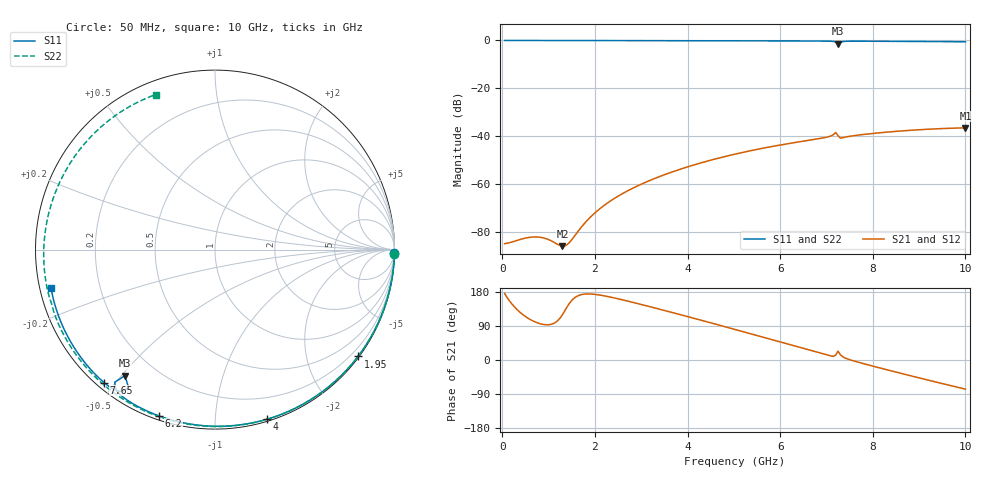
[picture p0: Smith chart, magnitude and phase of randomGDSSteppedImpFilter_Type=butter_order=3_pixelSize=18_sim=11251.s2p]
! freq	dB(S11)	phase(S11)	dB(S12)	phase(S12)
!  dB(S21)	phase(S21)	dB(S22)	phase(S22)
!S-par simulation data
#  GHz  S  DB  R 50
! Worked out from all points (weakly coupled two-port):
!   200 points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, 50 MHz to 10 GHz, reference 50 ohm
!   highest |S21| = -36.57 dB at 10 GHz (marker M1); lowest = -86.1 dB at 1.3 GHz (marker M2)
!   lowest |S11| = -1.3 dB at 7.25 GHz (marker M3), VSWR 13.63, Z = 4.63 - j25.6 ohm
!   |S11| at or under -10 dB: nowhere
!   |S22| runs from -0.7 to 0.0 dB; largest |S21 - S12| = 0
!   S11 on the Smith chart (normalised r, x): 50 MHz: open; 1.95 GHz: 0.03, -3.01; 4 GHz: 0.02, -1.35; 6.2 GHz: 0.02, -0.72; 7.65 GHz: 0.02, -0.47; 10 GHz: 0.03, -0.12
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0.05  -0.00 -1.0  -85.02 176.0  -85.02 176.0  -0.00 -1.3
0.65  -0.01 -12.5  -82.24 103.8  -82.24 103.8  -0.02 -16.3
1.3  -0.03 -24.7  -86.07 119.8  -86.07 119.8  -0.04 -32.3
1.6  -0.04 -30.3  -80.76 167.3  -80.76 167.3  -0.05 -39.6
1.75  -0.04 -33.1  -77.08 173.5  -77.08 173.5  -0.06 -43.2
1.95  -0.05 -36.8  -73.02 173.8  -73.02 173.8  -0.06 -48.0
2.2  -0.05 -41.3  -68.99 169.4  -68.99 169.4  -0.07 -54.0
2.55  -0.06 -47.7  -64.57 160.1  -64.57 160.1  -0.08 -62.2
3.4  -0.08 -62.7  -56.91 134.0  -56.91 134.0  -0.11 -81.9
4  -0.10 -73.0  -52.89 114.6  -52.89 114.6  -0.13 -95.4
5.05  -0.14 -90.3  -47.45 79.8  -47.45 79.8  -0.19 -118.6
6.2  -0.20 -108.7  -43.09 41.0  -43.09 41.0  -0.26 -144.3
6.7  -0.23 -116.7  -41.53 24.3  -41.53 24.3  -0.31 -155.8
7.05  -0.30 -122.9  -40.26 12.3  -40.26 12.3  -0.35 -163.9
7.2  -0.67 -127.1  -38.52 13.1  -38.52 13.1  -0.36 -167.5
7.25  -1.28 -125.5  -39.86 23.2  -39.86 23.2  -0.36 -168.7
7.3  -0.82 -121.9  -40.86 14.0  -40.86 14.0  -0.37 -170.0
7.35  -0.48 -123.3  -40.68 8.6  -40.68 8.6  -0.37 -171.2
7.65  -0.31 -129.8  -39.68 -4.6  -39.68 -4.6  -0.40 -178.7
8.35  -0.36 -140.9  -38.28 -27.2  -38.28 -27.2  -0.48 162.7
9.15  -0.45 -153.3  -37.19 -51.8  -37.19 -51.8  -0.58 139.2
10  -0.55 -166.8  -36.57 -76.8  -36.57 -76.8  -0.68 110.9
